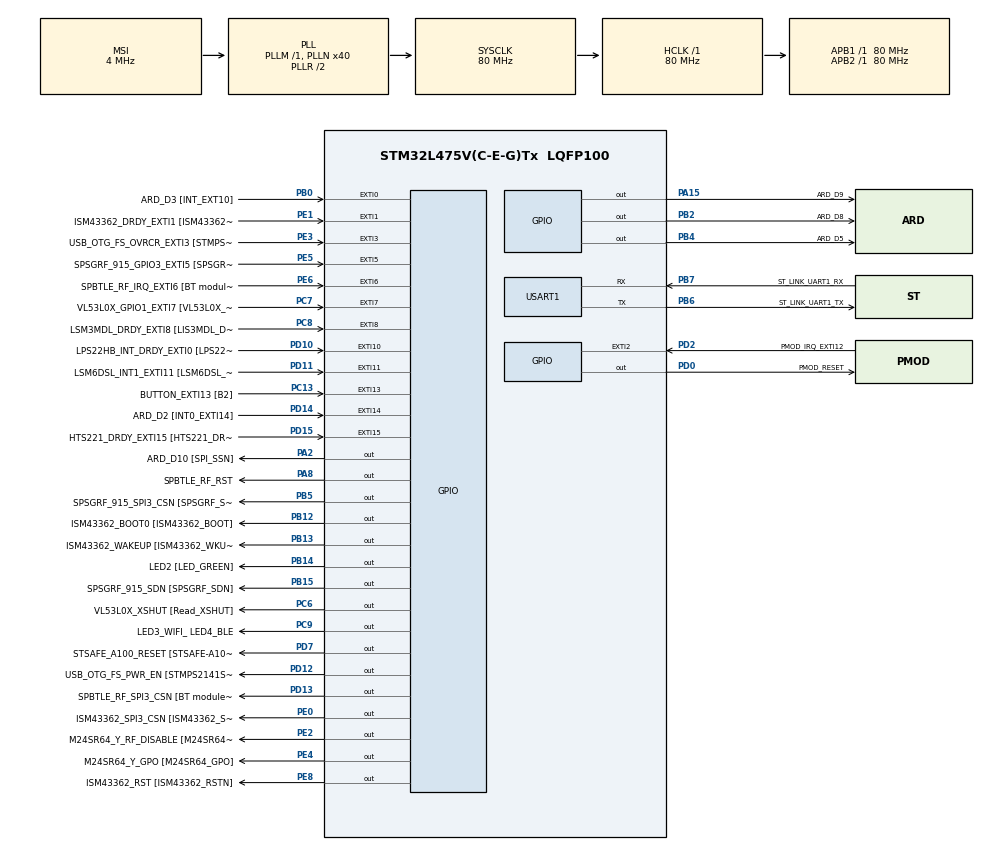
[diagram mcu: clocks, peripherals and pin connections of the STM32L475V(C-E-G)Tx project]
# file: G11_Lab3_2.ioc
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ADC1.Channel-0\#ChannelRegularConversion=ADC_CHANNEL_TEMPSENSOR
ADC1.NbrOfConversionFlag=1
ADC1.OffsetNumber-0\#ChannelRegularConversion=ADC_OFFSET_NONE
ADC1.Rank-0\#ChannelRegularConversion=1
ADC1.SamplingTime-0\#ChannelRegularConversion=ADC_SAMPLETIME_2CYCLES_5
ADC1.master=1
Dma.Request0=USART1_RX
Dma.Request1=USART1_TX
Dma.USART1_RX.0.Direction=DMA_PERIPH_TO_MEMORY
Dma.USART1_RX.0.Instance=DMA1_Channel5
Dma.USART1_RX.0.MemDataAlignment=DMA_MDATAALIGN_BYTE
Dma.USART1_RX.0.MemInc=DMA_MINC_ENABLE
Dma.USART1_RX.0.Mode=DMA_NORMAL
Dma.USART1_RX.0.PeriphDataAlignment=DMA_PDATAALIGN_BYTE
Dma.USART1_RX.0.PeriphInc=DMA_PINC_DISABLE
Dma.USART1_RX.0.Priority=DMA_PRIORITY_LOW
Dma.USART1_TX.1.Direction=DMA_MEMORY_TO_PERIPH
Dma.USART1_TX.1.Instance=DMA1_Channel4
Dma.USART1_TX.1.MemDataAlignment=DMA_MDATAALIGN_BYTE
Dma.USART1_TX.1.MemInc=DMA_MINC_ENABLE
Dma.USART1_TX.1.Mode=DMA_NORMAL
Dma.USART1_TX.1.PeriphDataAlignment=DMA_PDATAALIGN_BYTE
Dma.USART1_TX.1.PeriphInc=DMA_PINC_DISABLE
Dma.USART1_TX.1.Priority=DMA_PRIORITY_LOW
Mcu.Family=STM32L4
Mcu.Name=STM32L475V(C-E-G)Tx
Mcu.Package=LQFP100
NVIC.ADC1_2_IRQn=true\:0\:0\:false\:false\:true\:true
NVIC.DMA1_Channel4_IRQn=true\:0\:0\:false\:false\:true\:false
NVIC.DMA1_Channel5_IRQn=true\:0\:0\:false\:false\:true\:false
NVIC.EXTI15_10_IRQn=true\:0\:0\:false\:false\:true\:true
NVIC.EXTI9_5_IRQn=true\:0\:0\:false\:false\:true\:true
NVIC.PriorityGroup=NVIC_PRIORITYGROUP_4
NVIC.USART1_IRQn=true\:0\:0\:false\:false\:true\:true
PA0.GPIO_Label=ARD_D1 [UART4_TX]
PA0.Signal=UART4_TX
PA1.GPIO_Label=ARD_D0 [UART4_RX]
PA1.Signal=UART4_RX
PA10.GPIO_Label=USB_OTG_FS_ID
PA10.Signal=USB_OTG_FS_ID
PA11.GPIO_Label=USB_OTG_FS_DM
PA11.Signal=USB_OTG_FS_DM
PA12.GPIO_Label=USB_OTG_FS_DP
PA12.Signal=USB_OTG_FS_DP
PA13\ (JTMS-SWDIO).GPIO_Label=SYS_JTMS_SWDIO
PA13\ (JTMS-SWDIO).Signal=SYS_JTMS-SWDIO
PA14\ (JTCK-SWCLK).GPIO_Label=SYS_JTCK_SWCLK
PA14\ (JTCK-SWCLK).Signal=SYS_JTCK-SWCLK
PA15\ (JTDI).GPIO_Label=ARD_D9
PA15\ (JTDI).Signal=GPIO_Output
PA2.GPIO_Label=ARD_D10 [SPI_SSN]
PA2.Signal=GPIO_Output
PA3.GPIO_Label=ARD_D4
PA3.Signal=S_TIM2_CH4
PA4.GPIO_Label=ARD_D7
PA4.Signal=ADCx_IN9
PA5.GPIO_Label=ARD_D13 [SPI1_SCK]
PA5.Signal=SPI1_SCK
PA6.GPIO_Label=ARD_D12 [SPI1_MISO]
PA6.Signal=SPI1_MISO
PA7.GPIO_Label=ARD_D11 [SPI1_MOSI]
PA7.Signal=SPI1_MOSI
PA8.GPIO_Label=SPBTLE_RF_RST
PA8.Signal=GPIO_Output
PA9.GPIO_Label=USB_OTG_FS_VBUS [STMPS2141STR_OUT]
PA9.Signal=USB_OTG_FS_VBUS
PB0.GPIO_Label=ARD_D3 [INT_EXT10]
PB0.Signal=GPXTI0
PB1.GPIO_Label=ARD_D6 [ADC1_IN6]
PB1.Signal=ADCx_IN16
PB10.GPIO_Label=INTERNAL_I2C2_SCL [VL53L0X_SCL]
PB10.Signal=I2C2_SCL
PB11.GPIO_Label=INTERNAL_I2C2_SDA [VL53L0X_SDA]
PB11.Signal=I2C2_SDA
PB12.GPIO_Label=ISM43362_BOOT0 [ISM43362_BOOT]
PB12.Signal=GPIO_Output
PB13.GPIO_Label=ISM43362_WAKEUP [ISM43362_WKUP]
PB13.Signal=GPIO_Output
PB14.GPIO_Label=LED2 [LED_GREEN]
PB14.Signal=GPIO_Output
PB15.GPIO_Label=SPSGRF_915_SDN [SPSGRF_SDN]
PB15.Signal=GPIO_Output
PB2.GPIO_Label=ARD_D8
PB2.Signal=GPIO_Output
PB3\ (JTDO-TRACESWO).GPIO_Label=SYS_JTD0_SWO
PB3\ (JTDO-TRACESWO).Signal=SYS_JTDO-SWO
PB4\ (NJTRST).GPIO_Label=ARD_D5
PB4\ (NJTRST).Signal=GPIO_Output
PB5.GPIO_Label=SPSGRF_915_SPI3_CSN [SPSGRF_SPI_CS]
PB5.Signal=GPIO_Output
PB6.GPIO_Label=ST_LINK_UART1_TX
PB6.Mode=Asynchronous
PB6.Signal=USART1_TX
PB7.GPIO_Label=ST_LINK_UART1_RX
PB7.Mode=Asynchronous
PB7.Signal=USART1_RX
PB8.GPIO_Label=ARD_D15 [I2C1_SCL]
PB8.Signal=I2C1_SCL
PB9.GPIO_Label=ARD_D14 [I2C1_SDA]
PB9.Signal=I2C1_SDA
PC0.GPIO_Label=ARD_A5 [ADC]
PC0.Signal=ADCx_IN1
PC1.GPIO_Label=ARD_A4 [ADC]
PC1.Signal=ADCx_IN2
PC10.GPIO_Label=INTERNAL_SPI3_SCK [BT module_SPI_SCLK]
PC10.Signal=SPI3_SCK
PC11.GPIO_Label=INTERNAL_SPI3_MISO [BT module_SPI_MISO]
PC11.Signal=SPI3_MISO
PC12.GPIO_Label=INTERNAL_SPI3_MOSI [BT module_SPI_MOSI]
PC12.Signal=SPI3_MOSI
PC13.GPIO_Label=BUTTON_EXTI13 [B2]
PC13.GPIO_ModeDefaultEXTI=GPIO_MODE_IT_FALLING
PC13.Signal=GPXTI13
PC14-OSC32_IN\ (PC14).Signal=RCC_OSC32_IN
PC15-OSC32_OUT\ (PC15).Signal=RCC_OSC32_OUT
PC2.GPIO_Label=ARD_A3 [ADC]
PC2.Signal=ADCx_IN3
PC3.GPIO_Label=ARD_A2 [ADC]
PC3.Signal=ADCx_IN4
PC4.GPIO_Label=ARD_A1 [ADC]
PC4.Signal=ADCx_IN13
PC5.GPIO_Label=ARD_A0 [ADC]
PC5.Signal=ADCx_IN14
PC6.GPIO_Label=VL53L0X_XSHUT [Read_XSHUT]
PC6.Signal=GPIO_Output
PC7.GPIO_Label=VL53L0X_GPIO1_EXTI7 [VL53L0X_GPIO1]
PC7.Signal=GPXTI7
PC8.GPIO_Label=LSM3MDL_DRDY_EXTI8 [LIS3MDL_DRDY]
PC8.Signal=GPXTI8
PC9.GPIO_Label=LED3_WIFI_ LED4_BLE
PC9.Signal=GPIO_Output
PD0.GPIO_Label=PMOD_RESET
PD0.Signal=GPIO_Output
PD1.GPIO_Label=PMOD_SPI2_SCK
PD1.Signal=SPI2_SCK
PD10.GPIO_Label=LPS22HB_INT_DRDY_EXTI0 [LPS22HB_INT_DRDY] 
PD10.Signal=GPXTI10
PD11.GPIO_Label=LSM6DSL_INT1_EXTI11 [LSM6DSL_INT1]
PD11.Signal=GPXTI11
PD12.GPIO_Label=USB_OTG_FS_PWR_EN [STMPS2141STR_EN]
PD12.Signal=GPIO_Output
PD13.GPIO_Label=SPBTLE_RF_SPI3_CSN [BT module_SPI_CS]
PD13.Signal=GPIO_Output
PD14.GPIO_Label=ARD_D2 [INT0_EXTI14]
PD14.Signal=GPXTI14
PD15.GPIO_Label=HTS221_DRDY_EXTI15 [HTS221_DRDY]
PD15.Signal=GPXTI15
PD2.GPIO_Label=PMOD_IRQ_EXTI12
PD2.Signal=GPXTI2
PD3.GPIO_Label=PMOD_UART2_CTS
PD3.Signal=USART2_CTS
PD4.GPIO_Label=PMOD_UART2_RTS
PD4.Signal=USART2_RTS
PD5.GPIO_Label=PMOD_UART2_TX
PD5.Signal=USART2_TX
PD6.GPIO_Label=PMOD_UART2_RX
PD6.Signal=USART2_RX
PD7.GPIO_Label=STSAFE_A100_RESET [STSAFE-A100_RESET]
PD7.Signal=GPIO_Output
PD8.GPIO_Label=INTERNAL_UART3_TX [ISM43362_RX]
PD8.Signal=USART3_TX
PD9.GPIO_Label=INTERNAL_UART3_RX [ISM43362_TX]
PD9.Signal=USART3_RX
PE0.GPIO_Label=ISM43362_SPI3_CSN [ISM43362_SSN]
PE0.Signal=GPIO_Output
PE1.GPIO_Label=ISM43362_DRDY_EXTI1 [ISM43362_DATARDY]
PE1.Signal=GPXTI1
PE10.GPIO_Label=QUADSPI_CLK [MX25R6435F_SCLK]
PE10.Signal=QUADSPI_CLK
PE11.GPIO_Label=QUADSPI_NCS [MX25R6435F_SCLK]
PE11.Signal=QUADSPI_NCS
PE12.GPIO_Label=OQUADSPI_BK1_IO0 [MX25R6435F_IO0]
PE12.Signal=QUADSPI_BK1_IO0
PE13.GPIO_Label=QUADSPI_BK1_IO1 [MX25R6435F_IO1]
PE13.Signal=QUADSPI_BK1_IO1
PE14.GPIO_Label=QUAD_SPI_BK1_IO2 [MX25R6435F_IO2]
PE14.Signal=QUADSPI_BK1_IO2
PE15.GPIO_Label=QUAD_SPI_BK1_IO3 [MX25R6435F_IO3]
PE15.Signal=QUADSPI_BK1_IO3
PE2.GPIO_Label=M24SR64_Y_RF_DISABLE [M24SR64_RFDIS]
PE2.Signal=GPIO_Output
PE3.GPIO_Label=USB_OTG_FS_OVRCR_EXTI3 [STMPS2141STR_FAULT]
PE3.Signal=GPXTI3
PE4.GPIO_Label=M24SR64_Y_GPO [M24SR64_GPO]
PE4.Signal=GPIO_Output
PE5.GPIO_Label=SPSGRF_915_GPIO3_EXTI5 [SPSGRF_GPIO_3]
PE5.Signal=GPXTI5
PE6.GPIO_Label=SPBTLE_RF_IRQ_EXTI6 [BT module_SPI_IRQ]
PE6.Signal=GPXTI6
PE7.GPIO_Label=DFSDM1_DATIN2 [MP34DT01_DOUT]
PE7.Signal=S_DATAIN2DFSDM1
PE8.GPIO_Label=ISM43362_RST [ISM43362_RSTN]
PE8.Signal=GPIO_Output
PE9.GPIO_Label=DFSDM1_CKOUT [MP34DT01_CLK]
PE9.Signal=S_CKOUTDFSDM1
ProjectManager.HeapSize=0x200
ProjectManager.StackSize=0x400
ProjectManager.TargetToolchain=MDK-ARM V5
RCC.ADCFreq_Value=48000000
RCC.AHBFreq_Value=80000000
RCC.APB1Freq_Value=80000000
RCC.APB1TimFreq_Value=80000000
RCC.APB2Freq_Value=80000000
RCC.APB2TimFreq_Value=80000000
RCC.CortexFreq_Value=80000000
RCC.HCLKFreq_Value=80000000
RCC.HSE_VALUE=8000000
RCC.HSI_VALUE=16000000
RCC.LSE_VALUE=32768
RCC.MSI_VALUE=4000000
RCC.PLLN=40
RCC.PLLSAI1N=24
RCC.SYSCLKFreq_VALUE=80000000
RCC.SYSCLKSource=RCC_SYSCLKSOURCE_PLLCLK
RCC.USBFreq_Value=48000000
RCC.VCOOutputFreq_Value=160000000
SH.ADCx_IN1.0=ADC1_IN1
SH.ADCx_IN13.0=ADC1_IN13
SH.ADCx_IN14.0=ADC1_IN14
SH.ADCx_IN16.0=ADC1_IN16
SH.ADCx_IN2.0=ADC1_IN2
SH.ADCx_IN3.0=ADC1_IN3
SH.ADCx_IN4.0=ADC1_IN4
SH.ADCx_IN9.0=ADC1_IN9
SH.S_CKOUTDFSDM1.0=DFSDM1_CKOUT
SH.S_DATAIN2DFSDM1.0=DFSDM1_DATIN2
SH.S_TIM2_CH4.0=TIM2_CH4
USART1.VirtualMode-Asynchronous=VM_ASYNC
VP_ADC1_TempSens_Input.Mode=IN-TempSens
board=B-L475E-IOT01A

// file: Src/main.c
/**
  ******************************************************************************
  * @file           : main.c
  * @brief          : Main program body
  ******************************************************************************
  ** This notice applies to any and all portions of this file
  * that are not between comment pairs USER CODE BEGIN and
  * USER CODE END. Other portions of this file, whether
  * inserted by the user or by software development tools
  * are owned by their respective copyright owners.
  *
  * COPYRIGHT(c) 2018 STMicroelectronics
  *
  * Redistribution and use in source and binary forms, with or without modification,
  * are permitted provided that the following conditions are met:
  *   1. Redistributions of source code must retain the above copyright notice,
  *      this list of conditions and the following disclaimer.
  *   2. Redistributions in binary form must reproduce the above copyright notice,
  *      this list of conditions and the following disclaimer in the documentation
  *      and/or other materials provided with the distribution.
  *   3. Neither the name of STMicroelectronics nor the names of its contributors
  *      may be used to endorse or promote products derived from this software
  *      without specific prior written permission.
  *
  * THIS SOFTWARE IS PROVIDED BY THE COPYRIGHT HOLDERS AND CONTRIBUTORS "AS IS"
  * AND ANY EXPRESS OR IMPLIED WARRANTIES, INCLUDING, BUT NOT LIMITED TO, THE
  * IMPLIED WARRANTIES OF MERCHANTABILITY AND FITNESS FOR A PARTICULAR PURPOSE ARE
  * DISCLAIMED. IN NO EVENT SHALL THE COPYRIGHT HOLDER OR CONTRIBUTORS BE LIABLE
  * FOR ANY DIRECT, INDIRECT, INCIDENTAL, SPECIAL, EXEMPLARY, OR CONSEQUENTIAL
  * DAMAGES (INCLUDING, BUT NOT LIMITED TO, PROCUREMENT OF SUBSTITUTE GOODS OR
  * SERVICES; LOSS OF USE, DATA, OR PROFITS; OR BUSINESS INTERRUPTION) HOWEVER
  * CAUSED AND ON ANY THEORY OF LIABILITY, WHETHER IN CONTRACT, STRICT LIABILITY,
  * OR TORT (INCLUDING NEGLIGENCE OR OTHERWISE) ARISING IN ANY WAY OUT OF THE USE
  * OF THIS SOFTWARE, EVEN IF ADVISED OF THE POSSIBILITY OF SUCH DAMAGE.
  *
  ******************************************************************************
  */
#include "main.h"
#include "stm32l4xx_hal.h"

ADC_HandleTypeDef hadc1;

UART_HandleTypeDef huart1;
DMA_HandleTypeDef hdma_usart1_rx;
DMA_HandleTypeDef hdma_usart1_tx;

/* USER CODE BEGIN PV */
/* Private variables ---------------------------------------------------------*/

/* USER CODE END PV */

void SystemClock_Config(void);
static void MX_GPIO_Init(void);
static void MX_DMA_Init(void);
static void MX_ADC1_Init(void);
static void MX_USART1_UART_Init(void);

/* USER CODE BEGIN PFP */
/* Private function prototypes -----------------------------------------------*/

/* USER CODE END PFP */

/* USER CODE BEGIN 0 */

int flag = 0; //flag for interrupt systick
int conv_flag = 0; //flag for end of conversion
int t;
int arr_index = 0;

/* USER CODE END 0 */

int main(void)
{
  /* USER CODE BEGIN 1 */
	char ch[100];
	int temptens;
	int tempones;
  char tens;
	char ones;
  /* USER CODE END 1 */

  /* MCU Configuration----------------------------------------------------------*/

  /* Reset of all peripherals, Initializes the Flash interface and the Systick. */
  HAL_Init();

  /* Configure the system clock */
  SystemClock_Config();

  /* Initialize all configured peripherals */
  MX_GPIO_Init();
  MX_DMA_Init();
  MX_ADC1_Init();
  MX_USART1_UART_Init();
	char temperature[30];

  /* Infinite loop */
  while (1)
  {

  /* USER CODE BEGIN 3 */

	if(flag == 1){
	  flag = 0;

		HAL_ADC_Start_IT(&hadc1);
		if(conv_flag == 1){
			conv_flag = 0;
		t =  HAL_ADC_GetValue(&hadc1);
	  t = __HAL_ADC_CALC_TEMPERATURE(3500,t, LL_ADC_RESOLUTION_12B);

		temptens = (t/10);
		tempones = t-(temptens*10);
		tens = temptens + '0';
		ones = tempones + '0';
		temperature[arr_index] = tens;
		temperature[arr_index+1] = ones;
		temperature[arr_index+2] = '\n';
		arr_index = arr_index +3;

				if(arr_index == 30){
					arr_index = 0;
					HAL_UART_Transmit_DMA(&huart1, (uint8_t *)&temperature[0], 30);

				}

		}

		HAL_ADC_Stop_IT(&hadc1);
	}

  }
  /* USER CODE END 3 */

}

void SystemClock_Config(void)
{

  RCC_OscInitTypeDef RCC_OscInitStruct;
  RCC_ClkInitTypeDef RCC_ClkInitStruct;
  RCC_PeriphCLKInitTypeDef PeriphClkInit;

    /**Initializes the CPU, AHB and APB busses clocks
    */
  RCC_OscInitStruct.OscillatorType = RCC_OSCILLATORTYPE_MSI;
  RCC_OscInitStruct.MSIState = RCC_MSI_ON;
  RCC_OscInitStruct.MSICalibrationValue = 0;
  RCC_OscInitStruct.MSIClockRange = RCC_MSIRANGE_6;
  RCC_OscInitStruct.PLL.PLLState = RCC_PLL_ON;
  RCC_OscInitStruct.PLL.PLLSource = RCC_PLLSOURCE_MSI;
  RCC_OscInitStruct.PLL.PLLM = 1;
  RCC_OscInitStruct.PLL.PLLN = 40;
  RCC_OscInitStruct.PLL.PLLP = RCC_PLLP_DIV7;
  RCC_OscInitStruct.PLL.PLLQ = RCC_PLLQ_DIV2;
  RCC_OscInitStruct.PLL.PLLR = RCC_PLLR_DIV2;
  if (HAL_RCC_OscConfig(&RCC_OscInitStruct) != HAL_OK)
  {
    _Error_Handler(__FILE__, __LINE__);
  }

    /**Initializes the CPU, AHB and APB busses clocks
    */
  RCC_ClkInitStruct.ClockType = RCC_CLOCKTYPE_HCLK|RCC_CLOCKTYPE_SYSCLK
                              |RCC_CLOCKTYPE_PCLK1|RCC_CLOCKTYPE_PCLK2;
  RCC_ClkInitStruct.SYSCLKSource = RCC_SYSCLKSOURCE_PLLCLK;
  RCC_ClkInitStruct.AHBCLKDivider = RCC_SYSCLK_DIV1;
  RCC_ClkInitStruct.APB1CLKDivider = RCC_HCLK_DIV1;
  RCC_ClkInitStruct.APB2CLKDivider = RCC_HCLK_DIV1;

  if (HAL_RCC_ClockConfig(&RCC_ClkInitStruct, FLASH_LATENCY_4) != HAL_OK)
  {
    _Error_Handler(__FILE__, __LINE__);
  }

  PeriphClkInit.PeriphClockSelection = RCC_PERIPHCLK_USART1|RCC_PERIPHCLK_ADC;
  PeriphClkInit.Usart1ClockSelection = RCC_USART1CLKSOURCE_PCLK2;
  PeriphClkInit.AdcClockSelection = RCC_ADCCLKSOURCE_PLLSAI1;
  PeriphClkInit.PLLSAI1.PLLSAI1Source = RCC_PLLSOURCE_MSI;
  PeriphClkInit.PLLSAI1.PLLSAI1M = 1;
  PeriphClkInit.PLLSAI1.PLLSAI1N = 24;
  PeriphClkInit.PLLSAI1.PLLSAI1P = RCC_PLLP_DIV7;
  PeriphClkInit.PLLSAI1.PLLSAI1Q = RCC_PLLQ_DIV2;
  PeriphClkInit.PLLSAI1.PLLSAI1R = RCC_PLLR_DIV2;
  PeriphClkInit.PLLSAI1.PLLSAI1ClockOut = RCC_PLLSAI1_ADC1CLK;
  if (HAL_RCCEx_PeriphCLKConfig(&PeriphClkInit) != HAL_OK)
  {
    _Error_Handler(__FILE__, __LINE__);
  }

    /**Configure the main internal regulator output voltage
    */
  if (HAL_PWREx_ControlVoltageScaling(PWR_REGULATOR_VOLTAGE_SCALE1) != HAL_OK)
  {
    _Error_Handler(__FILE__, __LINE__);
  }

    /**Configure the Systick interrupt time
    */
  HAL_SYSTICK_Config(HAL_RCC_GetHCLKFreq()/10);

    /**Configure the Systick
    */
  HAL_SYSTICK_CLKSourceConfig(SYSTICK_CLKSOURCE_HCLK);

  /* SysTick_IRQn interrupt configuration */
  HAL_NVIC_SetPriority(SysTick_IRQn, 0, 0);
}

/* ADC1 init function */
static void MX_ADC1_Init(void)
{

  ADC_MultiModeTypeDef multimode;
  ADC_ChannelConfTypeDef sConfig;

    /**Common config
    */
  hadc1.Instance = ADC1;
  hadc1.Init.ClockPrescaler = ADC_CLOCK_ASYNC_DIV2;
  hadc1.Init.Resolution = ADC_RESOLUTION_12B;
  hadc1.Init.DataAlign = ADC_DATAALIGN_RIGHT;
  hadc1.Init.ScanConvMode = ADC_SCAN_DISABLE;
  hadc1.Init.EOCSelection = ADC_EOC_SINGLE_CONV;
  hadc1.Init.LowPowerAutoWait = DISABLE;
  hadc1.Init.ContinuousConvMode = DISABLE;
  hadc1.Init.NbrOfConversion = 1;
  hadc1.Init.DiscontinuousConvMode = DISABLE;
  hadc1.Init.ExternalTrigConv = ADC_SOFTWARE_START;
  hadc1.Init.ExternalTrigConvEdge = ADC_EXTERNALTRIGCONVEDGE_NONE;
  hadc1.Init.DMAContinuousRequests = DISABLE;
  hadc1.Init.Overrun = ADC_OVR_DATA_PRESERVED;
  hadc1.Init.OversamplingMode = DISABLE;
  if (HAL_ADC_Init(&hadc1) != HAL_OK)
  {
    _Error_Handler(__FILE__, __LINE__);
  }

    /**Configure the ADC multi-mode
    */
  multimode.Mode = ADC_MODE_INDEPENDENT;
  if (HAL_ADCEx_MultiModeConfigChannel(&hadc1, &multimode) != HAL_OK)
  {
    _Error_Handler(__FILE__, __LINE__);
  }

    /**Configure Regular Channel
    */
  sConfig.Channel = ADC_CHANNEL_TEMPSENSOR;
  sConfig.Rank = ADC_REGULAR_RANK_1;
  sConfig.SamplingTime = ADC_SAMPLETIME_12CYCLES_5;
  sConfig.SingleDiff = ADC_SINGLE_ENDED;
  sConfig.OffsetNumber = ADC_OFFSET_NONE;
  sConfig.Offset = 0;
  if (HAL_ADC_ConfigChannel(&hadc1, &sConfig) != HAL_OK)
  {
    _Error_Handler(__FILE__, __LINE__);
  }

}

/* USART1 init function */
static void MX_USART1_UART_Init(void)
{

  huart1.Instance = USART1;
  huart1.Init.BaudRate = 115200;
  huart1.Init.WordLength = UART_WORDLENGTH_8B;
  huart1.Init.StopBits = UART_STOPBITS_1;
  huart1.Init.Parity = UART_PARITY_NONE;
  huart1.Init.Mode = UART_MODE_TX_RX;
  huart1.Init.HwFlowCtl = UART_HWCONTROL_NONE;
  huart1.Init.OverSampling = UART_OVERSAMPLING_16;
  huart1.Init.OneBitSampling = UART_ONE_BIT_SAMPLE_DISABLE;
  huart1.AdvancedInit.AdvFeatureInit = UART_ADVFEATURE_NO_INIT;
  if (HAL_UART_Init(&huart1) != HAL_OK)
  {
    _Error_Handler(__FILE__, __LINE__);
  }

}

static void MX_DMA_Init(void)
{
  /* DMA controller clock enable */
  __HAL_RCC_DMA1_CLK_ENABLE();

  /* DMA interrupt init */
  /* DMA1_Channel4_IRQn interrupt configuration */
  HAL_NVIC_SetPriority(DMA1_Channel4_IRQn, 0, 0);
  HAL_NVIC_EnableIRQ(DMA1_Channel4_IRQn);
  /* DMA1_Channel5_IRQn interrupt configuration */
  HAL_NVIC_SetPriority(DMA1_Channel5_IRQn, 0, 0);
  HAL_NVIC_EnableIRQ(DMA1_Channel5_IRQn);

}

/** Configure pins as
        * Analog
        * Input
        * Output
        * EVENT_OUT
        * EXTI
     PA0   ------> UART4_TX
     PA1   ------> UART4_RX
     PA3   ------> S_TIM2_CH4
     PA5   ------> SPI1_SCK
     PA6   ------> SPI1_MISO
     PA7   ------> SPI1_MOSI
     PE7   ------> S_DATAIN2DFSDM1
     PE9   ------> S_CKOUTDFSDM1
     PE10   ------> QUADSPI_CLK
     PE11   ------> QUADSPI_NCS
     PE12   ------> QUADSPI_BK1_IO0
     PE13   ------> QUADSPI_BK1_IO1
     PE14   ------> QUADSPI_BK1_IO2
     PE15   ------> QUADSPI_BK1_IO3
     PB10   ------> I2C2_SCL
     PB11   ------> I2C2_SDA
     PD8   ------> USART3_TX
     PD9   ------> USART3_RX
     PA9   ------> USB_OTG_FS_VBUS
     PA10   ------> USB_OTG_FS_ID
     PA11   ------> USB_OTG_FS_DM
     PA12   ------> USB_OTG_FS_DP
     PC10   ------> SPI3_SCK
     PC11   ------> SPI3_MISO
     PC12   ------> SPI3_MOSI
     PD1   ------> SPI2_SCK
     PD3   ------> USART2_CTS
     PD4   ------> USART2_RTS
     PD5   ------> USART2_TX
     PD6   ------> USART2_RX
     PB8   ------> I2C1_SCL
     PB9   ------> I2C1_SDA
*/
static void MX_GPIO_Init(void)
{

  GPIO_InitTypeDef GPIO_InitStruct;

  /* GPIO Ports Clock Enable */
  __HAL_RCC_GPIOE_CLK_ENABLE();
  __HAL_RCC_GPIOC_CLK_ENABLE();
  __HAL_RCC_GPIOA_CLK_ENABLE();
  __HAL_RCC_GPIOB_CLK_ENABLE();
  __HAL_RCC_GPIOD_CLK_ENABLE();

  /*Configure GPIO pin Output Level */
  HAL_GPIO_WritePin(GPIOE, M24SR64_Y_RF_DISABLE_Pin|M24SR64_Y_GPO_Pin|ISM43362_RST_Pin|ISM43362_SPI3_CSN_Pin, GPIO_PIN_RESET);

  /*Configure GPIO pin Output Level */
  HAL_GPIO_WritePin(GPIOA, ARD_D10_Pin|SPBTLE_RF_RST_Pin|ARD_D9_Pin, GPIO_PIN_RESET);

  /*Configure GPIO pin Output Level */
  HAL_GPIO_WritePin(GPIOB, ARD_D8_Pin|ISM43362_BOOT0_Pin|ISM43362_WAKEUP_Pin|LED2_Pin
                          |SPSGRF_915_SDN_Pin|ARD_D5_Pin|SPSGRF_915_SPI3_CSN_Pin, GPIO_PIN_RESET);

  /*Configure GPIO pin Output Level */
  HAL_GPIO_WritePin(GPIOD, USB_OTG_FS_PWR_EN_Pin|SPBTLE_RF_SPI3_CSN_Pin|PMOD_RESET_Pin|STSAFE_A100_RESET_Pin, GPIO_PIN_RESET);

  /*Configure GPIO pin Output Level */
  HAL_GPIO_WritePin(GPIOC, VL53L0X_XSHUT_Pin|LED3_WIFI__LED4_BLE_Pin, GPIO_PIN_RESET);

  /*Configure GPIO pins : M24SR64_Y_RF_DISABLE_Pin M24SR64_Y_GPO_Pin ISM43362_RST_Pin ISM43362_SPI3_CSN_Pin */
  GPIO_InitStruct.Pin = M24SR64_Y_RF_DISABLE_Pin|M24SR64_Y_GPO_Pin|ISM43362_RST_Pin|ISM43362_SPI3_CSN_Pin;
  GPIO_InitStruct.Mode = GPIO_MODE_OUTPUT_PP;
  GPIO_InitStruct.Pull = GPIO_NOPULL;
  GPIO_InitStruct.Speed = GPIO_SPEED_FREQ_LOW;
  HAL_GPIO_Init(GPIOE, &GPIO_InitStruct);

  /*Configure GPIO pins : USB_OTG_FS_OVRCR_EXTI3_Pin SPSGRF_915_GPIO3_EXTI5_Pin SPBTLE_RF_IRQ_EXTI6_Pin ISM43362_DRDY_EXTI1_Pin */
  GPIO_InitStruct.Pin = USB_OTG_FS_OVRCR_EXTI3_Pin|SPSGRF_915_GPIO3_EXTI5_Pin|SPBTLE_RF_IRQ_EXTI6_Pin|ISM43362_DRDY_EXTI1_Pin;
  GPIO_InitStruct.Mode = GPIO_MODE_IT_RISING;
  GPIO_InitStruct.Pull = GPIO_NOPULL;
  HAL_GPIO_Init(GPIOE, &GPIO_InitStruct);

  /*Configure GPIO pin : BUTTON_EXTI13_Pin */
  GPIO_InitStruct.Pin = BUTTON_EXTI13_Pin;
  GPIO_InitStruct.Mode = GPIO_MODE_IT_FALLING;
  GPIO_InitStruct.Pull = GPIO_NOPULL;
  HAL_GPIO_Init(BUTTON_EXTI13_GPIO_Port, &GPIO_InitStruct);

  /*Configure GPIO pins : ARD_D1_Pin ARD_D0_Pin */
  GPIO_InitStruct.Pin = ARD_D1_Pin|ARD_D0_Pin;
  GPIO_InitStruct.Mode = GPIO_MODE_AF_PP;
  GPIO_InitStruct.Pull = GPIO_NOPULL;
  GPIO_InitStruct.Speed = GPIO_SPEED_FREQ_VERY_HIGH;
  GPIO_InitStruct.Alternate = GPIO_AF8_UART4;
  HAL_GPIO_Init(GPIOA, &GPIO_InitStruct);

  /*Configure GPIO pins : ARD_D10_Pin SPBTLE_RF_RST_Pin ARD_D9_Pin */
  GPIO_InitStruct.Pin = ARD_D10_Pin|SPBTLE_RF_RST_Pin|ARD_D9_Pin;
  GPIO_InitStruct.Mode = GPIO_MODE_OUTPUT_PP;
  GPIO_InitStruct.Pull = GPIO_NOPULL;
  GPIO_InitStruct.Speed = GPIO_SPEED_FREQ_LOW;
  HAL_GPIO_Init(GPIOA, &GPIO_InitStruct);

  /*Configure GPIO pin : ARD_D4_Pin */
  GPIO_InitStruct.Pin = ARD_D4_Pin;
  GPIO_InitStruct.Mode = GPIO_MODE_AF_PP;
  GPIO_InitStruct.Pull = GPIO_NOPULL;
  GPIO_InitStruct.Speed = GPIO_SPEED_FREQ_LOW;
  GPIO_InitStruct.Alternate = GPIO_AF1_TIM2;
  HAL_GPIO_Init(ARD_D4_GPIO_Port, &GPIO_InitStruct);

  /*Configure GPIO pins : ARD_D13_Pin ARD_D12_Pin ARD_D11_Pin */
  GPIO_InitStruct.Pin = ARD_D13_Pin|ARD_D12_Pin|ARD_D11_Pin;
  GPIO_InitStruct.Mode = GPIO_MODE_AF_PP;
  GPIO_InitStruct.Pull = GPIO_NOPULL;
  GPIO_InitStruct.Speed = GPIO_SPEED_FREQ_VERY_HIGH;
  GPIO_InitStruct.Alternate = GPIO_AF5_SPI1;
  HAL_GPIO_Init(GPIOA, &GPIO_InitStruct);

  /*Configure GPIO pin : ARD_D3_Pin */
  GPIO_InitStruct.Pin = ARD_D3_Pin;
  GPIO_InitStruct.Mode = GPIO_MODE_IT_RISING;
  GPIO_InitStruct.Pull = GPIO_NOPULL;
  HAL_GPIO_Init(ARD_D3_GPIO_Port, &GPIO_InitStruct);

  /*Configure GPIO pins : ARD_D8_Pin ISM43362_BOOT0_Pin ISM43362_WAKEUP_Pin LED2_Pin
                           SPSGRF_915_SDN_Pin ARD_D5_Pin SPSGRF_915_SPI3_CSN_Pin */
  GPIO_InitStruct.Pin = ARD_D8_Pin|ISM43362_BOOT0_Pin|ISM43362_WAKEUP_Pin|LED2_Pin
                          |SPSGRF_915_SDN_Pin|ARD_D5_Pin|SPSGRF_915_SPI3_CSN_Pin;
  GPIO_InitStruct.Mode = GPIO_MODE_OUTPUT_PP;
  GPIO_InitStruct.Pull = GPIO_NOPULL;
  GPIO_InitStruct.Speed = GPIO_SPEED_FREQ_LOW;
  HAL_GPIO_Init(GPIOB, &GPIO_InitStruct);

  /*Configure GPIO pins : DFSDM1_DATIN2_Pin DFSDM1_CKOUT_Pin */
  GPIO_InitStruct.Pin = DFSDM1_DATIN2_Pin|DFSDM1_CKOUT_Pin;
  GPIO_InitStruct.Mode = GPIO_MODE_AF_PP;
  GPIO_InitStruct.Pull = GPIO_NOPULL;
  GPIO_InitStruct.Speed = GPIO_SPEED_FREQ_LOW;
  GPIO_InitStruct.Alternate = GPIO_AF6_DFSDM1;
  HAL_GPIO_Init(GPIOE, &GPIO_InitStruct);

  /*Configure GPIO pins : QUADSPI_CLK_Pin QUADSPI_NCS_Pin OQUADSPI_BK1_IO0_Pin QUADSPI_BK1_IO1_Pin
                           QUAD_SPI_BK1_IO2_Pin QUAD_SPI_BK1_IO3_Pin */
  GPIO_InitStruct.Pin = QUADSPI_CLK_Pin|QUADSPI_NCS_Pin|OQUADSPI_BK1_IO0_Pin|QUADSPI_BK1_IO1_Pin
                          |QUAD_SPI_BK1_IO2_Pin|QUAD_SPI_BK1_IO3_Pin;
  GPIO_InitStruct.Mode = GPIO_MODE_AF_PP;
  GPIO_InitStruct.Pull = GPIO_NOPULL;
  GPIO_InitStruct.Speed = GPIO_SPEED_FREQ_VERY_HIGH;
  GPIO_InitStruct.Alternate = GPIO_AF10_QUADSPI;
  HAL_GPIO_Init(GPIOE, &GPIO_InitStruct);

  /*Configure GPIO pins : INTERNAL_I2C2_SCL_Pin INTERNAL_I2C2_SDA_Pin */
  GPIO_InitStruct.Pin = INTERNAL_I2C2_SCL_Pin|INTERNAL_I2C2_SDA_Pin;
  GPIO_InitStruct.Mode = GPIO_MODE_AF_OD;
  GPIO_InitStruct.Pull = GPIO_PULLUP;
  GPIO_InitStruct.Speed = GPIO_SPEED_FREQ_VERY_HIGH;
  GPIO_InitStruct.Alternate = GPIO_AF4_I2C2;
  HAL_GPIO_Init(GPIOB, &GPIO_InitStruct);

  /*Configure GPIO pins : INTERNAL_UART3_TX_Pin INTERNAL_UART3_RX_Pin */
  GPIO_InitStruct.Pin = INTERNAL_UART3_TX_Pin|INTERNAL_UART3_RX_Pin;
  GPIO_InitStruct.Mode = GPIO_MODE_AF_PP;
  GPIO_InitStruct.Pull = GPIO_NOPULL;
  GPIO_InitStruct.Speed = GPIO_SPEED_FREQ_VERY_HIGH;
  GPIO_InitStruct.Alternate = GPIO_AF7_USART3;
  HAL_GPIO_Init(GPIOD, &GPIO_InitStruct);

  /*Configure GPIO pins : LPS22HB_INT_DRDY_EXTI0_Pin LSM6DSL_INT1_EXTI11_Pin ARD_D2_Pin HTS221_DRDY_EXTI15_Pin
                           PMOD_IRQ_EXTI12_Pin */
  GPIO_InitStruct.Pin = LPS22HB_INT_DRDY_EXTI0_Pin|LSM6DSL_INT1_EXTI11_Pin|ARD_D2_Pin|HTS221_DRDY_EXTI15_Pin
                          |PMOD_IRQ_EXTI12_Pin;
  GPIO_InitStruct.Mode = GPIO_MODE_IT_RISING;
  GPIO_InitStruct.Pull = GPIO_NOPULL;
  HAL_GPIO_Init(GPIOD, &GPIO_InitStruct);

  /*Configure GPIO pins : USB_OTG_FS_PWR_EN_Pin SPBTLE_RF_SPI3_CSN_Pin PMOD_RESET_Pin STSAFE_A100_RESET_Pin */
  GPIO_InitStruct.Pin = USB_OTG_FS_PWR_EN_Pin|SPBTLE_RF_SPI3_CSN_Pin|PMOD_RESET_Pin|STSAFE_A100_RESET_Pin;
  GPIO_InitStruct.Mode = GPIO_MODE_OUTPUT_PP;
  GPIO_InitStruct.Pull = GPIO_NOPULL;
  GPIO_InitStruct.Speed = GPIO_SPEED_FREQ_LOW;
  HAL_GPIO_Init(GPIOD, &GPIO_InitStruct);

  /*Configure GPIO pins : VL53L0X_XSHUT_Pin LED3_WIFI__LED4_BLE_Pin */
  GPIO_InitStruct.Pin = VL53L0X_XSHUT_Pin|LED3_WIFI__LED4_BLE_Pin;
  GPIO_InitStruct.Mode = GPIO_MODE_OUTPUT_PP;
  GPIO_InitStruct.Pull = GPIO_NOPULL;
  GPIO_InitStruct.Speed = GPIO_SPEED_FREQ_LOW;
  HAL_GPIO_Init(GPIOC, &GPIO_InitStruct);

  /*Configure GPIO pins : VL53L0X_GPIO1_EXTI7_Pin LSM3MDL_DRDY_EXTI8_Pin */
  GPIO_InitStruct.Pin = VL53L0X_GPIO1_EXTI7_Pin|LSM3MDL_DRDY_EXTI8_Pin;
  GPIO_InitStruct.Mode = GPIO_MODE_IT_RISING;
  GPIO_InitStruct.Pull = GPIO_NOPULL;
  HAL_GPIO_Init(GPIOC, &GPIO_InitStruct);

  /*Configure GPIO pin : USB_OTG_FS_VBUS_Pin */
  GPIO_InitStruct.Pin = USB_OTG_FS_VBUS_Pin;
  GPIO_InitStruct.Mode = GPIO_MODE_INPUT;
  GPIO_InitStruct.Pull = GPIO_NOPULL;
  HAL_GPIO_Init(USB_OTG_FS_VBUS_GPIO_Port, &GPIO_InitStruct);

  /*Configure GPIO pins : USB_OTG_FS_ID_Pin USB_OTG_FS_DM_Pin USB_OTG_FS_DP_Pin */
  GPIO_InitStruct.Pin = USB_OTG_FS_ID_Pin|USB_OTG_FS_DM_Pin|USB_OTG_FS_DP_Pin;
  GPIO_InitStruct.Mode = GPIO_MODE_AF_PP;
  GPIO_InitStruct.Pull = GPIO_NOPULL;
  GPIO_InitStruct.Speed = GPIO_SPEED_FREQ_VERY_HIGH;
  GPIO_InitStruct.Alternate = GPIO_AF10_OTG_FS;
  HAL_GPIO_Init(GPIOA, &GPIO_InitStruct);

  /*Configure GPIO pins : INTERNAL_SPI3_SCK_Pin INTERNAL_SPI3_MISO_Pin INTERNAL_SPI3_MOSI_Pin */
  GPIO_InitStruct.Pin = INTERNAL_SPI3_SCK_Pin|INTERNAL_SPI3_MISO_Pin|INTERNAL_SPI3_MOSI_Pin;
  GPIO_InitStruct.Mode = GPIO_MODE_AF_PP;
  GPIO_InitStruct.Pull = GPIO_NOPULL;
  GPIO_InitStruct.Speed = GPIO_SPEED_FREQ_VERY_HIGH;
  GPIO_InitStruct.Alternate = GPIO_AF6_SPI3;
  HAL_GPIO_Init(GPIOC, &GPIO_InitStruct);

  /*Configure GPIO pin : PMOD_SPI2_SCK_Pin */
  GPIO_InitStruct.Pin = PMOD_SPI2_SCK_Pin;
  GPIO_InitStruct.Mode = GPIO_MODE_AF_PP;
  GPIO_InitStruct.Pull = GPIO_NOPULL;
  GPIO_InitStruct.Speed = GPIO_SPEED_FREQ_VERY_HIGH;
  GPIO_InitStruct.Alternate = GPIO_AF5_SPI2;
  HAL_GPIO_Init(PMOD_SPI2_SCK_GPIO_Port, &GPIO_InitStruct);

  /*Configure GPIO pins : PMOD_UART2_CTS_Pin PMOD_UART2_RTS_Pin PMOD_UART2_TX_Pin PMOD_UART2_RX_Pin */
  GPIO_InitStruct.Pin = PMOD_UART2_CTS_Pin|PMOD_UART2_RTS_Pin|PMOD_UART2_TX_Pin|PMOD_UART2_RX_Pin;
  GPIO_InitStruct.Mode = GPIO_MODE_AF_PP;
  GPIO_InitStruct.Pull = GPIO_NOPULL;
  GPIO_InitStruct.Speed = GPIO_SPEED_FREQ_VERY_HIGH;
  GPIO_InitStruct.Alternate = GPIO_AF7_USART2;
  HAL_GPIO_Init(GPIOD, &GPIO_InitStruct);

  /*Configure GPIO pins : ARD_D15_Pin ARD_D14_Pin */
  GPIO_InitStruct.Pin = ARD_D15_Pin|ARD_D14_Pin;
  GPIO_InitStruct.Mode = GPIO_MODE_AF_OD;
  GPIO_InitStruct.Pull = GPIO_PULLUP;
  GPIO_InitStruct.Speed = GPIO_SPEED_FREQ_VERY_HIGH;
  GPIO_InitStruct.Alternate = GPIO_AF4_I2C1;
  HAL_GPIO_Init(GPIOB, &GPIO_InitStruct);

  /* EXTI interrupt init*/
  HAL_NVIC_SetPriority(EXTI9_5_IRQn, 0, 0);
  HAL_NVIC_EnableIRQ(EXTI9_5_IRQn);

  HAL_NVIC_SetPriority(EXTI15_10_IRQn, 0, 0);
  HAL_NVIC_EnableIRQ(EXTI15_10_IRQn);

}

void _Error_Handler(char *file, int line)
{
  while(1)
  {
  }
}

/************************ (C) COPYRIGHT STMicroelectronics *****END OF FILE****/
